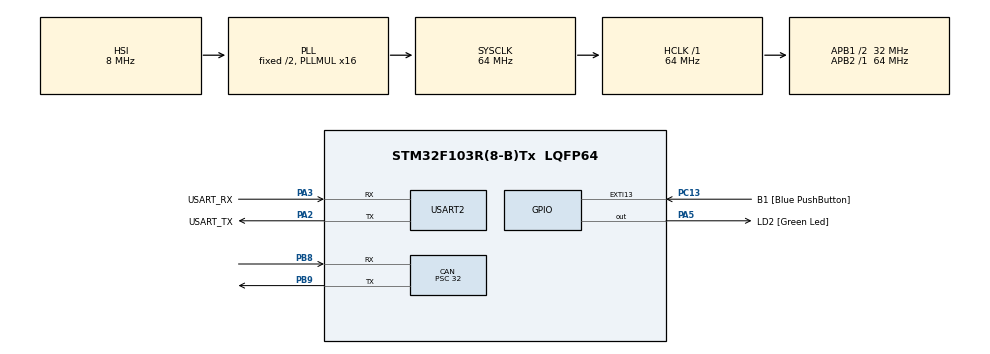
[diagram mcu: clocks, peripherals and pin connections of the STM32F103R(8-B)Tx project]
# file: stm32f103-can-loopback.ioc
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CAN.BS1=CAN_BS1_5TQ
CAN.BS2=CAN_BS2_2TQ
CAN.CalculateBaudRate=125000
CAN.CalculateTimeBit=8000
CAN.CalculateTimeQuantum=1000.0
CAN.Mode=CAN_MODE_NORMAL
CAN.Prescaler=32
CAN.SJW=CAN_SJW_1TQ
FREERTOS.Tasks01=defaultTask,24,128,StartDefaultTask,Default,NULL,Dynamic,NULL,NULL;HeartBeatTask,8,128,_HeartBeatTask,Default,NULL,Static,HeartBeatTaskBuffer,HeartBeatTaskControlBlock;CANReceiveTask,8,256,_CANReceiveTask,Default,NULL,Static,CANReceiveTaskBuffer,CANReceiveTaskControlBlock
FREERTOS.Timers01=myTimer01,Callback01,osTimerPeriodic,Default,NULL,Static,myTimer01ControlBlock
FREERTOS.configUSE_CO_ROUTINES=1
FREERTOS.configUSE_NEWLIB_REENTRANT=1
FREERTOS.configUSE_PREEMPTION=0
Mcu.Family=STM32F1
Mcu.Name=STM32F103R(8-B)Tx
Mcu.Package=LQFP64
NVIC.CAN1_SCE_IRQn=true\:5\:0\:false\:false\:true\:true\:true\:true\:true
NVIC.EXTI15_10_IRQn=true\:5\:0\:false\:false\:true\:true\:true\:true\:true
NVIC.PriorityGroup=NVIC_PRIORITYGROUP_4
PA13.GPIO_Label=TMS
PA13.Mode=Serial_Wire
PA13.Signal=SYS_JTMS-SWDIO
PA14.GPIO_Label=TCK
PA14.Mode=Serial_Wire
PA14.Signal=SYS_JTCK-SWCLK
PA2.GPIO_Label=USART_TX
PA2.GPIO_Mode=GPIO_MODE_AF_PP
PA2.GPIO_PuPd=GPIO_NOPULL
PA2.GPIO_Speed=GPIO_SPEED_FREQ_LOW
PA2.Mode=Asynchronous
PA2.Signal=USART2_TX
PA3.GPIO_Label=USART_RX
PA3.GPIO_Mode=GPIO_MODE_AF_PP
PA3.GPIO_PuPd=GPIO_NOPULL
PA3.GPIO_Speed=GPIO_SPEED_FREQ_LOW
PA3.Mode=Asynchronous
PA3.Signal=USART2_RX
PA5.GPIO_Label=LD2 [Green Led]
PA5.GPIO_ModeDefaultOutputPP=GPIO_MODE_OUTPUT_PP
PA5.GPIO_PuPd=GPIO_NOPULL
PA5.GPIO_Speed=GPIO_SPEED_FREQ_LOW
PA5.Signal=GPIO_Output
PB3.GPIO_Label=SWO
PB3.Signal=SYS_JTDO-TRACESWO
PB8.Mode=CAN_Activate
PB8.Signal=CAN_RX
PB9.Mode=CAN_Activate
PB9.Signal=CAN_TX
PC13-TAMPER-RTC.GPIO_Label=B1 [Blue PushButton]
PC13-TAMPER-RTC.GPIO_PuPd=GPIO_NOPULL
PC13-TAMPER-RTC.Signal=GPXTI13
PC14-OSC32_IN.Mode=LSE-External-Oscillator
PC14-OSC32_IN.Signal=RCC_OSC32_IN
PC15-OSC32_OUT.Mode=LSE-External-Oscillator
PC15-OSC32_OUT.Signal=RCC_OSC32_OUT
PD0-OSC_IN.Mode=HSE-External-Oscillator
PD0-OSC_IN.Signal=RCC_OSC_IN
PD1-OSC_OUT.Mode=HSE-External-Oscillator
PD1-OSC_OUT.Signal=RCC_OSC_OUT
ProjectManager.HeapSize=0x200
ProjectManager.StackSize=0x400
ProjectManager.TargetToolchain=STM32CubeIDE
RCC.AHBFreq_Value=64000000
RCC.APB1CLKDivider=RCC_HCLK_DIV2
RCC.APB1Freq_Value=32000000
RCC.APB1TimCLKDivider=2
RCC.APB1TimFreq_Value=64000000
RCC.APB2Freq_Value=64000000
RCC.APB2TimFreq_Value=64000000
RCC.HCLKFreq_Value=64000000
RCC.PLLMUL=RCC_PLL_MUL16
RCC.RTCClockSelection=RCC_RTCCLKSOURCE_LSE
RCC.SYSCLKFreq_VALUE=64000000
RCC.SYSCLKSource=RCC_SYSCLKSOURCE_PLLCLK
RCC.USBFreq_Value=64000000
USART2.VirtualMode=VM_ASYNC
VP_FREERTOS_VS_CMSIS_V2.Mode=CMSIS_V2
board=NUCLEO-F103RB

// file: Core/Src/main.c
/* USER CODE BEGIN Header */
/**
 ******************************************************************************
 * @file           : main.c
 * @brief          : Main program body
 ******************************************************************************
 * @attention
 *
 * Copyright (c) 2022 STMicroelectronics.
 * All rights reserved.
 *
 * This software is licensed under terms that can be found in the LICENSE file
 * in the root directory of this software component.
 * If no LICENSE file comes with this software, it is provided AS-IS.
 *
 ******************************************************************************
 */
/* USER CODE END Header */
#include "main.h"
#include "cmsis_os.h"

/* USER CODE BEGIN Includes */
#include <string.h>
#include <stdio.h>
#include <stdlib.h>
#include <stdarg.h>
#include "print.h"
/* USER CODE END Includes */

typedef StaticTask_t osStaticThreadDef_t;
typedef StaticTimer_t osStaticTimerDef_t;

CAN_HandleTypeDef hcan;

UART_HandleTypeDef huart2;

/* Definitions for defaultTask */
osThreadId_t defaultTaskHandle;
const osThreadAttr_t defaultTask_attributes = {
  .name = "defaultTask",
  .stack_size = 128 * 4,
  .priority = (osPriority_t) osPriorityNormal,
};
/* Definitions for HeartBeatTask */
osThreadId_t HeartBeatTaskHandle;
uint32_t HeartBeatTaskBuffer[ 128 ];
osStaticThreadDef_t HeartBeatTaskControlBlock;
const osThreadAttr_t HeartBeatTask_attributes = {
  .name = "HeartBeatTask",
  .cb_mem = &HeartBeatTaskControlBlock,
  .cb_size = sizeof(HeartBeatTaskControlBlock),
  .stack_mem = &HeartBeatTaskBuffer[0],
  .stack_size = sizeof(HeartBeatTaskBuffer),
  .priority = (osPriority_t) osPriorityLow,
};
/* Definitions for CANReceiveTask */
osThreadId_t CANReceiveTaskHandle;
uint32_t CANReceiveTaskBuffer[ 256 ];
osStaticThreadDef_t CANReceiveTaskControlBlock;
const osThreadAttr_t CANReceiveTask_attributes = {
  .name = "CANReceiveTask",
  .cb_mem = &CANReceiveTaskControlBlock,
  .cb_size = sizeof(CANReceiveTaskControlBlock),
  .stack_mem = &CANReceiveTaskBuffer[0],
  .stack_size = sizeof(CANReceiveTaskBuffer),
  .priority = (osPriority_t) osPriorityLow,
};
/* Definitions for myTimer01 */
osTimerId_t myTimer01Handle;
osStaticTimerDef_t myTimer01ControlBlock;
const osTimerAttr_t myTimer01_attributes = {
  .name = "myTimer01",
  .cb_mem = &myTimer01ControlBlock,
  .cb_size = sizeof(myTimer01ControlBlock),
};
/* USER CODE BEGIN PV */
uint8_t ubKeyNumber = 0x0;
CAN_TxHeaderTypeDef TxHeader;
CAN_RxHeaderTypeDef RxHeader;
uint8_t TxData[8];
uint8_t RxData[8];
uint32_t TxMailbox=0;

CAN_FilterTypeDef sFilterConfig;

#define PRINT_BUFFER_SIZE 256
char printBuffer[PRINT_BUFFER_SIZE];

/* USER CODE END PV */

void SystemClock_Config(void);
static void MX_GPIO_Init(void);
static void MX_USART2_UART_Init(void);
static void MX_CAN_Init(void);
void StartDefaultTask(void *argument);
void _HeartBeatTask(void *argument);
void _CANReceiveTask(void *argument);
void Callback01(void *argument);

/* USER CODE BEGIN 0 */

void __print_service(const char *str) {
    HAL_UART_Transmit(&huart2, (uint8_t*) str, strlen(str), 100);
}

//void _printf(const char *format, va_list args) {
////	va_list args;
////	va_start(args, format);
//
//	if(strlen(format) >= PRINT_BUFFER_SIZE) {
//		const char* errorMessage = "ERROR: format argument has lenght biger than expected len!\n";
//		_print(errorMessage);
//		_print(format);
//		_print("\r\n");
//		return;
//	}
//
//	int len = vsnprintf(printBuffer, PRINT_BUFFER_SIZE, format, args);
////	va_end(args);
//
//	if(len > 0) {
//		_print(printBuffer);
//	}else{
//		const char* errorMessage = "ERROR: To large string to format";
//		_print(errorMessage);
//		_print(format);
//		_print("\r\n");
//	}
//}
//
//void println(const char *format, ...) {
//	va_list args;
//	va_start(args, format);
//	_printf(format, args);
//	va_end(args);
//	_print("\r\n");
//}
//
//void print(const char *format, ...) {
//	va_list args;
//	va_start(args, format);
//	_printf(format, args);
//	va_end(args);
//}
//
////void print(const char *format, ...) {
////	va_list args;
////	va_start(args, format);
////
////	if(strlen(format) >= PRINT_BUFFER_SIZE) {
////		const char* errorMessage = "ERROR: format argument has lenght biger than expected len!\n";
////		_print(errorMessage);
////		_print(format);
////		_print("\r\n");
////		return;
////	}
////
////	int len = vsnprintf(printBuffer, PRINT_BUFFER_SIZE, format, args);
////	va_end(args);
////
////	if(len > 0) {
////		_print(printBuffer);
////	}else{
////		const char* errorMessage = "ERROR: To large string to format";
////		_print(errorMessage);
////		_print(format);
////		_print("\r\n");
////	}
////}
#define CAN_ERROR_MSG_MAPPING_LEN 23

struct {
	uint32_t error_id;
	const char* human_readable_msg;
} can_error_msg_mapping[CAN_ERROR_MSG_MAPPING_LEN] = {
{HAL_CAN_ERROR_NONE            , "No error                                            "},
{HAL_CAN_ERROR_EWG             , "Protocol Error Warning                              "},
{HAL_CAN_ERROR_EPV             , "Error Passive                                       "},
{HAL_CAN_ERROR_BOF             , "Bus-off error                                       "},
{HAL_CAN_ERROR_STF             , "Stuff error                                         "},
{HAL_CAN_ERROR_FOR             , "Form error                                          "},
{HAL_CAN_ERROR_ACK             , "Acknowledgment error                                "},
{HAL_CAN_ERROR_BR              , "Bit recessive error                                 "},
{HAL_CAN_ERROR_BD              , "Bit dominant error                                  "},
{HAL_CAN_ERROR_CRC             , "CRC error                                           "},
{HAL_CAN_ERROR_RX_FOV0         , "Rx FIFO0 overrun error                              "},
{HAL_CAN_ERROR_RX_FOV1         , "Rx FIFO1 overrun error                              "},
{HAL_CAN_ERROR_TX_ALST0        , "TxMailbox 0 transmit failure due to arbitration lost"},
{HAL_CAN_ERROR_TX_TERR0        , "TxMailbox 0 transmit failure due to transmit error  "},
{HAL_CAN_ERROR_TX_ALST1        , "TxMailbox 1 transmit failure due to arbitration lost"},
{HAL_CAN_ERROR_TX_TERR1        , "TxMailbox 1 transmit failure due to transmit error  "},
{HAL_CAN_ERROR_TX_ALST2        , "TxMailbox 2 transmit failure due to arbitration lost"},
{HAL_CAN_ERROR_TX_TERR2        , "TxMailbox 2 transmit failure due to transmit error  "},
{HAL_CAN_ERROR_TIMEOUT         , "Timeout error                                       "},
{HAL_CAN_ERROR_NOT_INITIALIZED , "Peripheral not initialized                          "},
{HAL_CAN_ERROR_NOT_READY       , "Peripheral not ready                                "},
{HAL_CAN_ERROR_NOT_STARTED     , "Peripheral not started                              "},
{HAL_CAN_ERROR_PARAM           ,"Parameter error                                      "}
};

/* USER CODE END 0 */

int main(void)
{

  /* MCU Configuration--------------------------------------------------------*/

  /* Reset of all peripherals, Initializes the Flash interface and the Systick. */
  HAL_Init();

  /* USER CODE BEGIN Init */
  print_init(__print_service);
  /* USER CODE END Init */

  /* Configure the system clock */
  SystemClock_Config();

  /* Initialize all configured peripherals */
  MX_GPIO_Init();
  MX_USART2_UART_Init();
  MX_CAN_Init();

  /* Init scheduler */
  osKernelInitialize();

  /* Create the timer(s) */
  /* creation of myTimer01 */
  myTimer01Handle = osTimerNew(Callback01, osTimerPeriodic, NULL, &myTimer01_attributes);

  /* Create the thread(s) */
  /* creation of defaultTask */
  defaultTaskHandle = osThreadNew(StartDefaultTask, NULL, &defaultTask_attributes);

  /* creation of HeartBeatTask */
  HeartBeatTaskHandle = osThreadNew(_HeartBeatTask, NULL, &HeartBeatTask_attributes);

  /* creation of CANReceiveTask */
  CANReceiveTaskHandle = osThreadNew(_CANReceiveTask, NULL, &CANReceiveTask_attributes);

  /* Start scheduler */
  osKernelStart();

  /* We should never get here as control is now taken by the scheduler */
  /* Infinite loop */
  /* USER CODE BEGIN WHILE */

  /* USER CODE END 3 */
}

void SystemClock_Config(void)
{
  RCC_OscInitTypeDef RCC_OscInitStruct = {0};
  RCC_ClkInitTypeDef RCC_ClkInitStruct = {0};

  /** Initializes the RCC Oscillators according to the specified parameters
  * in the RCC_OscInitTypeDef structure.
  */
  RCC_OscInitStruct.OscillatorType = RCC_OSCILLATORTYPE_HSI;
  RCC_OscInitStruct.HSIState = RCC_HSI_ON;
  RCC_OscInitStruct.HSICalibrationValue = RCC_HSICALIBRATION_DEFAULT;
  RCC_OscInitStruct.PLL.PLLState = RCC_PLL_ON;
  RCC_OscInitStruct.PLL.PLLSource = RCC_PLLSOURCE_HSI_DIV2;
  RCC_OscInitStruct.PLL.PLLMUL = RCC_PLL_MUL16;
  if (HAL_RCC_OscConfig(&RCC_OscInitStruct) != HAL_OK)
  {
    Error_Handler();
  }

  /** Initializes the CPU, AHB and APB buses clocks
  */
  RCC_ClkInitStruct.ClockType = RCC_CLOCKTYPE_HCLK|RCC_CLOCKTYPE_SYSCLK
                              |RCC_CLOCKTYPE_PCLK1|RCC_CLOCKTYPE_PCLK2;
  RCC_ClkInitStruct.SYSCLKSource = RCC_SYSCLKSOURCE_PLLCLK;
  RCC_ClkInitStruct.AHBCLKDivider = RCC_SYSCLK_DIV1;
  RCC_ClkInitStruct.APB1CLKDivider = RCC_HCLK_DIV2;
  RCC_ClkInitStruct.APB2CLKDivider = RCC_HCLK_DIV1;

  if (HAL_RCC_ClockConfig(&RCC_ClkInitStruct, FLASH_LATENCY_2) != HAL_OK)
  {
    Error_Handler();
  }
}

static void MX_CAN_Init(void)
{

  hcan.Instance = CAN1;
  hcan.Init.Prescaler = 32;
  hcan.Init.Mode = CAN_MODE_NORMAL;
  hcan.Init.SyncJumpWidth = CAN_SJW_1TQ;
  hcan.Init.TimeSeg1 = CAN_BS1_5TQ;
  hcan.Init.TimeSeg2 = CAN_BS2_2TQ;
  hcan.Init.TimeTriggeredMode = DISABLE;
  hcan.Init.AutoBusOff = DISABLE;
  hcan.Init.AutoWakeUp = DISABLE;
  hcan.Init.AutoRetransmission = DISABLE;
  hcan.Init.ReceiveFifoLocked = DISABLE;
  hcan.Init.TransmitFifoPriority = DISABLE;
  if (HAL_CAN_Init(&hcan) != HAL_OK)
  {
    Error_Handler();
  }
  /* USER CODE BEGIN CAN_Init 2 */
    /*##-2- Configure the CAN Filter ###########################################*/
    sFilterConfig.FilterBank = 0;
    sFilterConfig.FilterMode = CAN_FILTERMODE_IDMASK;
    sFilterConfig.FilterScale = CAN_FILTERSCALE_32BIT;
    sFilterConfig.FilterIdHigh = 0x0000;
    sFilterConfig.FilterIdLow = 0x0000;
    sFilterConfig.FilterMaskIdHigh = 0x0000;
    sFilterConfig.FilterMaskIdLow = 0x0000;
    sFilterConfig.FilterFIFOAssignment = CAN_RX_FIFO0;
    sFilterConfig.FilterActivation = ENABLE;
    sFilterConfig.SlaveStartFilterBank = 14; // how many filters to assign to the CAN1 (master can)

    if (HAL_CAN_ConfigFilter(&hcan, &sFilterConfig) != HAL_OK) {
        /* Filter configuration Error */
        Error_Handler();
    }

    /*##-3- Start the CAN peripheral ###########################################*/
    if (HAL_CAN_Start(&hcan) != HAL_OK) {
        /* Start Error */
        Error_Handler();
    }

    const uint32_t error_filter = CAN_IT_ERROR_WARNING | CAN_IT_ERROR_PASSIVE | CAN_IT_BUSOFF |
			CAN_IT_LAST_ERROR_CODE | CAN_IT_ERROR;

    if (HAL_CAN_ActivateNotification(&hcan, error_filter) != HAL_OK) {

        /* Notification Error */
        Error_Handler();
    }

    /*##-5- Configure Transmission process #####################################*/
    TxHeader.StdId = 0x321;
    TxHeader.ExtId = 0x01;
    TxHeader.RTR = CAN_RTR_DATA;
    TxHeader.IDE = CAN_ID_STD;
    TxHeader.DLC = 2;
    TxHeader.TransmitGlobalTime = DISABLE;

  /* USER CODE END CAN_Init 2 */

}

static void MX_USART2_UART_Init(void)
{

  huart2.Instance = USART2;
  huart2.Init.BaudRate = 115200;
  huart2.Init.WordLength = UART_WORDLENGTH_8B;
  huart2.Init.StopBits = UART_STOPBITS_1;
  huart2.Init.Parity = UART_PARITY_NONE;
  huart2.Init.Mode = UART_MODE_TX_RX;
  huart2.Init.HwFlowCtl = UART_HWCONTROL_NONE;
  huart2.Init.OverSampling = UART_OVERSAMPLING_16;
  if (HAL_UART_Init(&huart2) != HAL_OK)
  {
    Error_Handler();
  }

}

static void MX_GPIO_Init(void)
{
  GPIO_InitTypeDef GPIO_InitStruct = {0};

  /* GPIO Ports Clock Enable */
  __HAL_RCC_GPIOC_CLK_ENABLE();
  __HAL_RCC_GPIOD_CLK_ENABLE();
  __HAL_RCC_GPIOA_CLK_ENABLE();
  __HAL_RCC_GPIOB_CLK_ENABLE();

  /*Configure GPIO pin Output Level */
  HAL_GPIO_WritePin(LD2_GPIO_Port, LD2_Pin, GPIO_PIN_RESET);

  /*Configure GPIO pin : B1_Pin */
  GPIO_InitStruct.Pin = B1_Pin;
  GPIO_InitStruct.Mode = GPIO_MODE_IT_RISING;
  GPIO_InitStruct.Pull = GPIO_NOPULL;
  HAL_GPIO_Init(B1_GPIO_Port, &GPIO_InitStruct);

  /*Configure GPIO pin : LD2_Pin */
  GPIO_InitStruct.Pin = LD2_Pin;
  GPIO_InitStruct.Mode = GPIO_MODE_OUTPUT_PP;
  GPIO_InitStruct.Pull = GPIO_NOPULL;
  GPIO_InitStruct.Speed = GPIO_SPEED_FREQ_LOW;
  HAL_GPIO_Init(LD2_GPIO_Port, &GPIO_InitStruct);

  /* EXTI interrupt init*/
  HAL_NVIC_SetPriority(EXTI15_10_IRQn, 5, 0);
  HAL_NVIC_EnableIRQ(EXTI15_10_IRQn);

}

void StartDefaultTask(void *argument)
{
  for(;;)
  {
    osDelay(1);
  }
}

void _HeartBeatTask(void *argument)
{
  /* USER CODE BEGIN _HeartBeatTask */
  /* Infinite loop */
  for(;;)
  {
    osDelay(1000);
    int pendingRequests = HAL_CAN_IsTxMessagePending(&hcan, TxMailbox);
    if (pendingRequests == 0) {
    	TxHeader.DLC = 1;
    	TxHeader.StdId = 0x001;
    	TxHeader.IDE = CAN_ID_STD;
    	RxData[0] = 0xAA;
    	if (HAL_CAN_AddTxMessage(&hcan, &TxHeader, RxData, &TxMailbox) != HAL_OK) {
            Error_Handler();
        }
    }
  }
  /* USER CODE END _HeartBeatTask */
}

void _CANReceiveTask(void *argument)
{
  /* USER CODE BEGIN _CANReceiveTask */
  /* Infinite loop */
    while (1) {
    	uint32_t error = HAL_CAN_GetError(&hcan);
    	if(error != HAL_CAN_ERROR_NONE) {
    		for(int i = 0; i < CAN_ERROR_MSG_MAPPING_LEN; i++){
    			if(error & can_error_msg_mapping[i].error_id) {
    				print("CAN Error is: ");
    				println("%s", can_error_msg_mapping[i].human_readable_msg);
    			}
    		}
    		HAL_CAN_ResetError(&hcan);
    	}

        uint32_t RxFifo = 0;
        uint32_t fillLevel = HAL_CAN_GetRxFifoFillLevel(&hcan, RxFifo);
        if (fillLevel > 0) {
            HAL_CAN_GetRxMessage(&hcan, RxFifo, &RxHeader, RxData);
            if(RxHeader.IDE == CAN_ID_STD){
                println("RX: StdId=%x; DLC=%d", RxHeader.StdId, RxHeader.DLC);
            }else{
                println("RX: ExtId=%x; DLC=%d", RxHeader.ExtId, RxHeader.DLC);
            }
            println("RX: %x%x%x%x%x%x%x%x", RxData[0], RxData[1], RxData[2], RxData[3], RxData[4], RxData[5], RxData[6], RxData[7]);
        }
        osDelay(100);

    }
  /* USER CODE END _CANReceiveTask */
}

/* Callback01 function */
void Callback01(void *argument)
{
}

void Error_Handler(void)
{
    __disable_irq();
    while (1) {
    }
}
